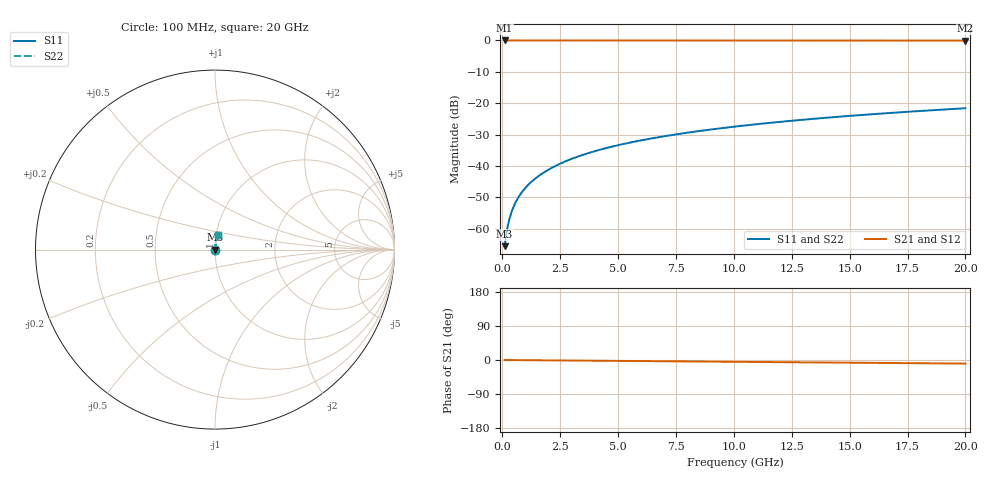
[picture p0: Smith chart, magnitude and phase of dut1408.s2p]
! Touchstone file exported from HFSS 2026.1.0
!  File:  C:/ffzhzh/LocalFiles/Ansys_Project_Files/temp_train_TSV_1408_1783197026_22436.aedt
!  Generated:  04:32:02 AM Jul  5, 2026
!  Design:  TSV
!  Project:  temp_train_TSV_1408_1783197026_22436
! Variables:
!  h_bsmrdl = 2um
!  h_ox = 20um
!  h_rdl = 5um
!  h_sub = 75.86um
!  h_tmrdl = 5um
!  h_tsv = 75.86um
!  h_via = 3um
!  l_bsmrdl = 300um
!  l_sub = 412.5um
!  l_tmrdl = 200um
!  m_sub = 200um
!  pitch = 56.01um
!  r_tsv = 6.25um
!  s_tmrdl = 10um
!  w_bsmrdl = 18um
!  w_sub = 500um
!  w_tmrdl = 12um
!  x_tsv_center1 = 206um
!  x_tsv_center2 = 524um
!  x_tsv_center3 = 736um
!  x_tsv_center4 = 1054um
!  x_tsv_center5 = 1266um
!  x_tsv_center6 = 1584um
# GHz S MA R 50.000000
! Terminal data exported
! Port[1] = TSV1_1_T1
! Port[2] = TSV1_1_T2
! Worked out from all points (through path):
!   200 points, 100 MHz to 20 GHz, reference 50 ohm
!   highest |S21| = 0.00 dB at 100 MHz (marker M1); lowest = 0.0 dB at 20 GHz (marker M2)
!   group delay of S21, straight-line fit = 1.31 ps
!   lowest |S11| = -65.6 dB at 100 MHz (marker M3), VSWR 1.00, Z = 50 + j0.0458 ohm
!   |S11| at or under -10 dB: start of sweep to end of sweep
!   |S22| runs from -65.6 to -21.6 dB; largest |S21 - S12| = 3.4e-15
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0.1  0.0005241 60.8  0.9997 -0.0  0.9997 -0.0  0.0005241 60.8
! Gamma 0 0 0 0
! Port Impedance 50 0 50 0
0.2  0.0009514 73.8  0.9997 -0.1  0.9997 -0.1  0.0009514 73.8
0.3  0.001395 78.4  0.9997 -0.1  0.9997 -0.1  0.001395 78.4
0.4  0.001841 80.6  0.9997 -0.2  0.9997 -0.2  0.001841 80.6
0.5  0.002284 81.9  0.9997 -0.2  0.9997 -0.2  0.002284 81.9
0.6  0.002725 82.7  0.9997 -0.3  0.9997 -0.3  0.002725 82.7
0.7  0.003163 83.3  0.9996 -0.3  0.9996 -0.3  0.003163 83.3
0.8  0.003597 83.7  0.9996 -0.4  0.9996 -0.4  0.003597 83.7
1  0.004461 84.3  0.9996 -0.5  0.9996 -0.5  0.004461 84.3
1.4  0.006172 85.0  0.9995 -0.7  0.9995 -0.7  0.006172 85.0
1.7  0.007449 85.3  0.9995 -0.8  0.9995 -0.8  0.007449 85.3
2  0.008723 85.5  0.9994 -1.0  0.9994 -1.0  0.008723 85.5
2.7  0.01169 85.7  0.9993 -1.3  0.9993 -1.3  0.01169 85.7
3.5  0.01507 85.7  0.9992 -1.7  0.9992 -1.7  0.01507 85.7
4.2  0.01801 85.5  0.9991 -2.0  0.9991 -2.0  0.01801 85.5
5  0.02136 85.3  0.9989 -2.4  0.9989 -2.4  0.02136 85.3
6.8  0.02887 84.8  0.9986 -3.2  0.9986 -3.2  0.02887 84.8
8.3  0.03509 84.3  0.9983 -4.0  0.9983 -4.0  0.03509 84.3
10.1  0.04253 83.6  0.9979 -4.8  0.9979 -4.8  0.04253 83.6
13.4  0.05611 82.2  0.9971 -6.4  0.9971 -6.4  0.05611 82.2
16.7  0.0696 80.8  0.9961 -7.9  0.9961 -7.9  0.0696 80.8
20  0.08295 79.4  0.9949 -9.4  0.9949 -9.4  0.08295 79.4
